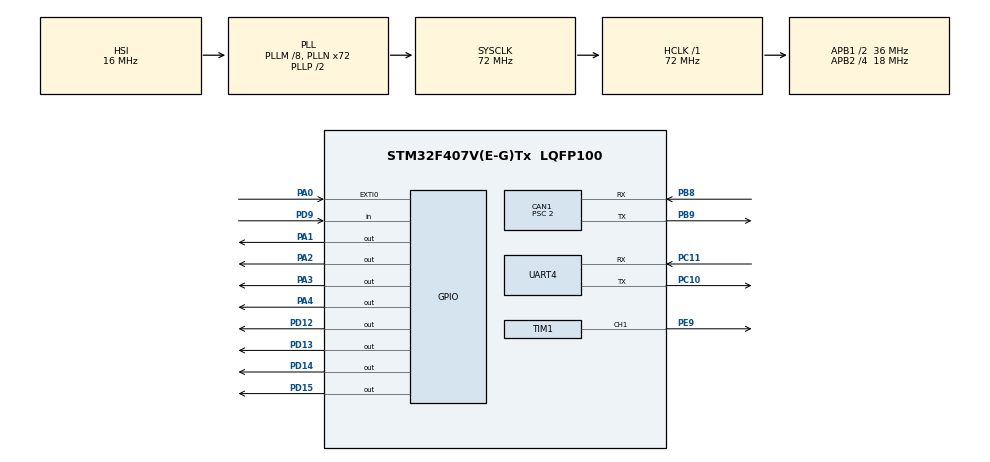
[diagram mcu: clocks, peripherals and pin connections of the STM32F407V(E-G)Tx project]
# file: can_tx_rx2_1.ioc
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CAN1.ABOM=ENABLE
CAN1.BS1=CAN_BS1_15TQ
CAN1.BS2=CAN_BS2_2TQ
CAN1.CalculateBaudRate=1000000
CAN1.CalculateTimeBit=1000
CAN1.CalculateTimeQuantum=55.55555555555556
CAN1.NART=ENABLE
CAN1.Prescaler=2
Mcu.Family=STM32F4
Mcu.Name=STM32F407V(E-G)Tx
Mcu.Package=LQFP100
NVIC.CAN1_RX0_IRQn=true\:0\:0\:false\:false\:true\:true\:true\:true
NVIC.CAN1_RX1_IRQn=true\:0\:0\:false\:false\:true\:true\:true\:true
NVIC.CAN1_SCE_IRQn=true\:0\:0\:false\:false\:true\:true\:true\:true
NVIC.CAN1_TX_IRQn=true\:0\:0\:false\:false\:true\:true\:true\:true
NVIC.PriorityGroup=NVIC_PRIORITYGROUP_4
NVIC.TIM6_DAC_IRQn=true\:0\:0\:false\:false\:true\:true\:true\:true
PA0-WKUP.Signal=GPXTI0
PA1.Signal=GPIO_Output
PA2.Signal=GPIO_Output
PA3.Signal=GPIO_Output
PA4.Signal=GPIO_Output
PB8.Mode=CAN_Activate
PB8.Signal=CAN1_RX
PB9.Mode=CAN_Activate
PB9.Signal=CAN1_TX
PC10.Mode=Asynchronous
PC10.Signal=UART4_TX
PC11.Mode=Asynchronous
PC11.Signal=UART4_RX
PD12.Signal=GPIO_Output
PD13.Signal=GPIO_Output
PD14.Signal=GPIO_Output
PD15.Signal=GPIO_Output
PD9.Signal=GPIO_Input
PE9.Signal=S_TIM1_CH1
PH0-OSC_IN.Mode=HSE-External-Oscillator
PH0-OSC_IN.Signal=RCC_OSC_IN
PH1-OSC_OUT.Mode=HSE-External-Oscillator
PH1-OSC_OUT.Signal=RCC_OSC_OUT
ProjectManager.HeapSize=0x200
ProjectManager.StackSize=0x400
ProjectManager.TargetToolchain=STM32CubeIDE
RCC.48MHZClocksFreq_Value=36000000
RCC.AHBFreq_Value=72000000
RCC.APB1CLKDivider=RCC_HCLK_DIV2
RCC.APB1Freq_Value=36000000
RCC.APB1TimFreq_Value=72000000
RCC.APB2CLKDivider=RCC_HCLK_DIV4
RCC.APB2Freq_Value=18000000
RCC.APB2TimFreq_Value=36000000
RCC.CortexFreq_Value=72000000
RCC.HCLKFreq_Value=72000000
RCC.HSE_VALUE=25000000
RCC.HSI_VALUE=16000000
RCC.LSE_VALUE=32768
RCC.PLLM=8
RCC.PLLN=72
RCC.SYSCLKFreq_VALUE=72000000
RCC.SYSCLKSource=RCC_SYSCLKSOURCE_PLLCLK
RCC.VCOOutputFreq_Value=144000000
SH.S_TIM1_CH1.0=TIM1_CH1,PWM Generation1 CH1
TIM1.Channel-PWM\ Generation1\ CH1=TIM_CHANNEL_1
TIM1.Period=99
TIM1.Prescaler=24
TIM6.Prescaler=7199
UART4.VirtualMode=Asynchronous
VP_TIM1_VS_ClockSourceINT.Mode=Internal
VP_TIM6_VS_ClockSourceINT.Mode=Enable_Timer
board=custom

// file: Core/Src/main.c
/* USER CODE BEGIN Header */
/**
  ******************************************************************************
  * @file           : main.c
  * @brief          : Main program body
  ******************************************************************************
  * @attention
  *
  * Copyright (c) 2024 STMicroelectronics.
  * All rights reserved.
  *
  * This software is licensed under terms that can be found in the LICENSE file
  * in the root directory of this software component.
  * If no LICENSE file comes with this software, it is provided AS-IS.
  *
  ******************************************************************************
  */
/* USER CODE END Header */
#include "main.h"

/* USER CODE BEGIN Includes */
#include <string.h>
#include <stdio.h>
#include "stdlib.h"
/* USER CODE END Includes */

/* USER CODE BEGIN PD */
#define MAX_TEMP 60
#define STEP_PIN GPIO_PIN_12  // Step pin (e.g., PA0)
#define DIR_PIN  GPIO_PIN_13  // Direction pin (e.g., PA1)
#define STEP_PORT GPIOD       // GPIO Port for Step pin
#define DIR_PORT  GPIOD       // GPIO Port for Direction pin
#define MOTOR_PIN_1 GPIO_PIN_1
#define MOTOR_PIN_2 GPIO_PIN_2
#define MOTOR_PIN_3 GPIO_PIN_3
#define MOTOR_PIN_4 GPIO_PIN_4
#define MOTOR_GPIO_PORT GPIOA
/* USER CODE END PD */

CAN_HandleTypeDef hcan1;
TIM_HandleTypeDef htim1;
TIM_HandleTypeDef htim6;
UART_HandleTypeDef huart4;

/* USER CODE BEGIN PV */
CAN_TxHeaderTypeDef TxHeader;
CAN_RxHeaderTypeDef RxHeader;
uint8_t RxData[8];// Actual Payload
uint8_t TxData[8];
uint8_t Temperature;
uint8_t Humidity;
uint16_t Rain_water;
uint8_t temp=0;
uint8_t adcValue;
uint8_t iot_Send_Flag = 0;
uint32_t PWMdutycycle;
char ch[50];
char uartSend[9]={'F','A','B','C','D','L','\r','\n'};
// Define the step sequence for the 28BYJ-48 stepper motor
const uint8_t step_sequence[4] = {0x01, 0x02, 0x04, 0x08};
/* USER CODE END PV */

void SystemClock_Config(void);
static void MX_GPIO_Init(void);
static void MX_CAN1_Init(void);
static void MX_TIM1_Init(void);
static void MX_UART4_Init(void);
static void MX_TIM6_Init(void);
/* USER CODE BEGIN PFP */
void Error_Handler(void);
void CAN1_Tx();
void CAN_filterConfig(void);
void Adjust_Fan_Speed(uint8_t temp);
void Stepper_Move(uint16_t steps, uint8_t direction);
void iot_Send_Data(void);
/* USER CODE END PFP */

int main(void)
{

  /* MCU Configuration--------------------------------------------------------*/

  /* Reset of all peripherals, Initializes the Flash interface and the Systick. */
  HAL_Init();

  /* Configure the system clock */
  SystemClock_Config();

  /* Initialize all configured peripherals */
  MX_GPIO_Init();
  MX_CAN1_Init();
  MX_TIM1_Init();
  MX_UART4_Init();
  MX_TIM6_Init();
  /* USER CODE BEGIN 2 */
  if(HAL_CAN_ActivateNotification(&hcan1,CAN_IT_TX_MAILBOX_EMPTY|CAN_IT_RX_FIFO0_MSG_PENDING|CAN_IT_BUSOFF)!= HAL_OK)
  {
	  Error_Handler();
  }
  CAN_filterConfig();

 if (HAL_CAN_Start(&hcan1) != HAL_OK)
   	  {
    	Error_Handler();
   	  }
  if (HAL_CAN_ActivateNotification(&hcan1, CAN_IT_RX_FIFO0_MSG_PENDING) != HAL_OK)
  	{
  	  // Notification Error
  	  Error_Handler();
  	}
  if(HAL_TIM_PWM_Start(&htim1, TIM_CHANNEL_1)!=HAL_OK)
  {
  	Error_Handler();
  }
  Adjust_Fan_Speed(Temperature);
  //temp=0;
  HAL_TIM_Base_Start_IT(&htim6);
  /* USER CODE END 2 */

  /* Infinite loop */
  /* USER CODE BEGIN WHILE */
  while (1)
  {

	  				if(temp==1)
	  				{
	  			  	  	  // Rotate motor forward 180 degrees
	  			          Stepper_Move(70, 1); // 32 steps forward
	  			          //HAL_Delay(1000); // Wait 1 second

	  			          // Rotate motor backward 180 degrees
	  			          Stepper_Move(70, 0); // 32 steps backward
	  			          //HAL_Delay(1000); // Wait 1 second
	  				}

	  				if(iot_Send_Flag == 1)
	  				{
	  					iot_Send_Flag=0;
	  					iot_Send_Data();
	  				}
    /* USER CODE END WHILE */

  }
}

void SystemClock_Config(void)
{
  RCC_OscInitTypeDef RCC_OscInitStruct = {0};
  RCC_ClkInitTypeDef RCC_ClkInitStruct = {0};

  /** Configure the main internal regulator output voltage
  */
  __HAL_RCC_PWR_CLK_ENABLE();
  __HAL_PWR_VOLTAGESCALING_CONFIG(PWR_REGULATOR_VOLTAGE_SCALE1);

  /** Initializes the RCC Oscillators according to the specified parameters
  * in the RCC_OscInitTypeDef structure.
  */
  RCC_OscInitStruct.OscillatorType = RCC_OSCILLATORTYPE_HSI;
  RCC_OscInitStruct.HSIState = RCC_HSI_ON;
  RCC_OscInitStruct.HSICalibrationValue = RCC_HSICALIBRATION_DEFAULT;
  RCC_OscInitStruct.PLL.PLLState = RCC_PLL_ON;
  RCC_OscInitStruct.PLL.PLLSource = RCC_PLLSOURCE_HSI;
  RCC_OscInitStruct.PLL.PLLM = 8;
  RCC_OscInitStruct.PLL.PLLN = 72;
  RCC_OscInitStruct.PLL.PLLP = RCC_PLLP_DIV2;
  RCC_OscInitStruct.PLL.PLLQ = 4;
  if (HAL_RCC_OscConfig(&RCC_OscInitStruct) != HAL_OK)
  {
    Error_Handler();
  }

  /** Initializes the CPU, AHB and APB buses clocks
  */
  RCC_ClkInitStruct.ClockType = RCC_CLOCKTYPE_HCLK|RCC_CLOCKTYPE_SYSCLK
                              |RCC_CLOCKTYPE_PCLK1|RCC_CLOCKTYPE_PCLK2;
  RCC_ClkInitStruct.SYSCLKSource = RCC_SYSCLKSOURCE_PLLCLK;
  RCC_ClkInitStruct.AHBCLKDivider = RCC_SYSCLK_DIV1;
  RCC_ClkInitStruct.APB1CLKDivider = RCC_HCLK_DIV2;
  RCC_ClkInitStruct.APB2CLKDivider = RCC_HCLK_DIV4;

  if (HAL_RCC_ClockConfig(&RCC_ClkInitStruct, FLASH_LATENCY_2) != HAL_OK)
  {
    Error_Handler();
  }
}

static void MX_CAN1_Init(void)
{

  hcan1.Instance = CAN1;
  hcan1.Init.Prescaler = 2;
  hcan1.Init.Mode = CAN_MODE_NORMAL;
  hcan1.Init.SyncJumpWidth = CAN_SJW_1TQ;
  hcan1.Init.TimeSeg1 = CAN_BS1_15TQ;
  hcan1.Init.TimeSeg2 = CAN_BS2_2TQ;
  hcan1.Init.TimeTriggeredMode = DISABLE;
  hcan1.Init.AutoBusOff = ENABLE;
  hcan1.Init.AutoWakeUp = DISABLE;
  hcan1.Init.AutoRetransmission = ENABLE;
  hcan1.Init.ReceiveFifoLocked = DISABLE;
  hcan1.Init.TransmitFifoPriority = DISABLE;
  if (HAL_CAN_Init(&hcan1) != HAL_OK)
  {
    Error_Handler();
  }

}

static void MX_TIM1_Init(void)
{

  TIM_ClockConfigTypeDef sClockSourceConfig = {0};
  TIM_MasterConfigTypeDef sMasterConfig = {0};
  TIM_OC_InitTypeDef sConfigOC = {0};
  TIM_BreakDeadTimeConfigTypeDef sBreakDeadTimeConfig = {0};

  htim1.Instance = TIM1;
  htim1.Init.Prescaler = 24;
  htim1.Init.CounterMode = TIM_COUNTERMODE_UP;
  htim1.Init.Period = 99;
  htim1.Init.ClockDivision = TIM_CLOCKDIVISION_DIV1;
  htim1.Init.RepetitionCounter = 0;
  htim1.Init.AutoReloadPreload = TIM_AUTORELOAD_PRELOAD_DISABLE;
  if (HAL_TIM_Base_Init(&htim1) != HAL_OK)
  {
    Error_Handler();
  }
  sClockSourceConfig.ClockSource = TIM_CLOCKSOURCE_INTERNAL;
  if (HAL_TIM_ConfigClockSource(&htim1, &sClockSourceConfig) != HAL_OK)
  {
    Error_Handler();
  }
  if (HAL_TIM_PWM_Init(&htim1) != HAL_OK)
  {
    Error_Handler();
  }
  sMasterConfig.MasterOutputTrigger = TIM_TRGO_RESET;
  sMasterConfig.MasterSlaveMode = TIM_MASTERSLAVEMODE_DISABLE;
  if (HAL_TIMEx_MasterConfigSynchronization(&htim1, &sMasterConfig) != HAL_OK)
  {
    Error_Handler();
  }
  sConfigOC.OCMode = TIM_OCMODE_PWM1;
  sConfigOC.Pulse = 0;
  sConfigOC.OCPolarity = TIM_OCPOLARITY_HIGH;
  sConfigOC.OCNPolarity = TIM_OCNPOLARITY_HIGH;
  sConfigOC.OCFastMode = TIM_OCFAST_DISABLE;
  sConfigOC.OCIdleState = TIM_OCIDLESTATE_RESET;
  sConfigOC.OCNIdleState = TIM_OCNIDLESTATE_RESET;
  if (HAL_TIM_PWM_ConfigChannel(&htim1, &sConfigOC, TIM_CHANNEL_1) != HAL_OK)
  {
    Error_Handler();
  }
  sBreakDeadTimeConfig.OffStateRunMode = TIM_OSSR_DISABLE;
  sBreakDeadTimeConfig.OffStateIDLEMode = TIM_OSSI_DISABLE;
  sBreakDeadTimeConfig.LockLevel = TIM_LOCKLEVEL_OFF;
  sBreakDeadTimeConfig.DeadTime = 0;
  sBreakDeadTimeConfig.BreakState = TIM_BREAK_DISABLE;
  sBreakDeadTimeConfig.BreakPolarity = TIM_BREAKPOLARITY_HIGH;
  sBreakDeadTimeConfig.AutomaticOutput = TIM_AUTOMATICOUTPUT_DISABLE;
  if (HAL_TIMEx_ConfigBreakDeadTime(&htim1, &sBreakDeadTimeConfig) != HAL_OK)
  {
    Error_Handler();
  }
  HAL_TIM_MspPostInit(&htim1);

}

static void MX_TIM6_Init(void)
{

  TIM_MasterConfigTypeDef sMasterConfig = {0};

  htim6.Instance = TIM6;
  htim6.Init.Prescaler = 7199;
  htim6.Init.CounterMode = TIM_COUNTERMODE_UP;
  htim6.Init.Period = 65535;
  htim6.Init.AutoReloadPreload = TIM_AUTORELOAD_PRELOAD_DISABLE;
  if (HAL_TIM_Base_Init(&htim6) != HAL_OK)
  {
    Error_Handler();
  }
  sMasterConfig.MasterOutputTrigger = TIM_TRGO_RESET;
  sMasterConfig.MasterSlaveMode = TIM_MASTERSLAVEMODE_DISABLE;
  if (HAL_TIMEx_MasterConfigSynchronization(&htim6, &sMasterConfig) != HAL_OK)
  {
    Error_Handler();
  }

}

static void MX_UART4_Init(void)
{

  huart4.Instance = UART4;
  huart4.Init.BaudRate = 115200;
  huart4.Init.WordLength = UART_WORDLENGTH_8B;
  huart4.Init.StopBits = UART_STOPBITS_1;
  huart4.Init.Parity = UART_PARITY_NONE;
  huart4.Init.Mode = UART_MODE_TX_RX;
  huart4.Init.HwFlowCtl = UART_HWCONTROL_NONE;
  huart4.Init.OverSampling = UART_OVERSAMPLING_16;
  if (HAL_UART_Init(&huart4) != HAL_OK)
  {
    Error_Handler();
  }

}

static void MX_GPIO_Init(void)
{
  GPIO_InitTypeDef GPIO_InitStruct = {0};

  /* GPIO Ports Clock Enable */
  __HAL_RCC_GPIOH_CLK_ENABLE();
  __HAL_RCC_GPIOA_CLK_ENABLE();
  __HAL_RCC_GPIOE_CLK_ENABLE();
  __HAL_RCC_GPIOD_CLK_ENABLE();
  __HAL_RCC_GPIOC_CLK_ENABLE();
  __HAL_RCC_GPIOB_CLK_ENABLE();

  /*Configure GPIO pin Output Level */
  HAL_GPIO_WritePin(GPIOA, GPIO_PIN_1|GPIO_PIN_2|GPIO_PIN_3|GPIO_PIN_4, GPIO_PIN_RESET);

  /*Configure GPIO pin Output Level */
  HAL_GPIO_WritePin(GPIOD, GPIO_PIN_12|GPIO_PIN_13|GPIO_PIN_14|GPIO_PIN_15, GPIO_PIN_RESET);

  /*Configure GPIO pin : PA0 */
  GPIO_InitStruct.Pin = GPIO_PIN_0;
  GPIO_InitStruct.Mode = GPIO_MODE_IT_RISING;
  GPIO_InitStruct.Pull = GPIO_NOPULL;
  HAL_GPIO_Init(GPIOA, &GPIO_InitStruct);

  /*Configure GPIO pins : PA1 PA2 PA3 PA4 */
  GPIO_InitStruct.Pin = GPIO_PIN_1|GPIO_PIN_2|GPIO_PIN_3|GPIO_PIN_4;
  GPIO_InitStruct.Mode = GPIO_MODE_OUTPUT_PP;
  GPIO_InitStruct.Pull = GPIO_NOPULL;
  GPIO_InitStruct.Speed = GPIO_SPEED_FREQ_LOW;
  HAL_GPIO_Init(GPIOA, &GPIO_InitStruct);

  /*Configure GPIO pin : PD9 */
  GPIO_InitStruct.Pin = GPIO_PIN_9;
  GPIO_InitStruct.Mode = GPIO_MODE_INPUT;
  GPIO_InitStruct.Pull = GPIO_NOPULL;
  HAL_GPIO_Init(GPIOD, &GPIO_InitStruct);

  /*Configure GPIO pins : PD12 PD13 PD14 PD15 */
  GPIO_InitStruct.Pin = GPIO_PIN_12|GPIO_PIN_13|GPIO_PIN_14|GPIO_PIN_15;
  GPIO_InitStruct.Mode = GPIO_MODE_OUTPUT_PP;
  GPIO_InitStruct.Pull = GPIO_NOPULL;
  GPIO_InitStruct.Speed = GPIO_SPEED_FREQ_LOW;
  HAL_GPIO_Init(GPIOD, &GPIO_InitStruct);

}

/* USER CODE BEGIN 4 */

  	void CAN_filterConfig (void)
  	{
  		CAN_FilterTypeDef sFilterConfig;
  		  sFilterConfig.FilterBank = 0;
  		  sFilterConfig.FilterMode = CAN_FILTERMODE_IDMASK;
  		  sFilterConfig.FilterScale = CAN_FILTERSCALE_32BIT;
  		  sFilterConfig.FilterIdHigh = 0x0000;
  		  sFilterConfig.FilterIdLow = 0x0000;
  		  sFilterConfig.FilterMaskIdHigh = 0x0000;
  		  sFilterConfig.FilterMaskIdLow = 0x0000;
  		  sFilterConfig.FilterFIFOAssignment = CAN_FILTER_FIFO0;
  		  sFilterConfig.FilterActivation = ENABLE;
  		  sFilterConfig.SlaveStartFilterBank = 14;
  		  if (HAL_CAN_ConfigFilter(&hcan1, &sFilterConfig) != HAL_OK)
  		  {
  		    Error_Handler();
  		  }
  	}

  	void HAL_CAN_RxFifo0MsgPendingCallback(CAN_HandleTypeDef *hcan)
  	{
  	 /* Get RX message from Fifo0 as message is Pending in Fifo to be Read*/
  	 if (HAL_CAN_GetRxMessage(hcan, CAN_RX_FIFO0, &RxHeader, RxData) != HAL_OK)
  	   Error_Handler();
  	 if ((RxHeader.StdId == 0x65D) && (RxHeader.IDE == CAN_ID_STD) && (RxHeader.DLC == 6))
  	 {
  		 Temperature=RxData[0];
  		 Humidity = RxData[1];
  		 Rain_water=RxData[2]<<8 ;
  		Rain_water=RxData[3]+Rain_water;

  	 }
  	 Adjust_Fan_Speed(Temperature);
  	 if(Rain_water<2000)
  		 temp=1;
  	 else
  		 temp=0;
  	}

  	void Stepper_Move(uint16_t steps, uint8_t direction)
  	   {
  	       for (uint16_t i = 0; ((i < steps)&&(temp==1)); i++)
  	       {
  	           // Set the GPIO pins based on the step sequence
  	           for (uint8_t j = 0; ((j < 4)&&(temp==1)); j++)
  	           {
  	               if (direction) // Forward
  	               {
  	                   HAL_GPIO_WritePin(MOTOR_GPIO_PORT, MOTOR_PIN_1, (step_sequence[j] & 0x01) ? GPIO_PIN_SET : GPIO_PIN_RESET);
  	                   HAL_GPIO_WritePin(MOTOR_GPIO_PORT, MOTOR_PIN_2, (step_sequence[j] & 0x02) ? GPIO_PIN_SET : GPIO_PIN_RESET);
  	                   HAL_GPIO_WritePin(MOTOR_GPIO_PORT, MOTOR_PIN_3, (step_sequence[j] & 0x04) ? GPIO_PIN_SET : GPIO_PIN_RESET);
  	                   HAL_GPIO_WritePin(MOTOR_GPIO_PORT, MOTOR_PIN_4, (step_sequence[j] & 0x08) ? GPIO_PIN_SET : GPIO_PIN_RESET);
  	               }
  	               else // Backward
  	               {
  	                   uint8_t k = 3 - j; // Reverse the sequence for backward movement
  	                   HAL_GPIO_WritePin(MOTOR_GPIO_PORT, MOTOR_PIN_1, (step_sequence[k] & 0x01) ? GPIO_PIN_SET : GPIO_PIN_RESET);
  	                   HAL_GPIO_WritePin(MOTOR_GPIO_PORT, MOTOR_PIN_2, (step_sequence[k] & 0x02) ? GPIO_PIN_SET : GPIO_PIN_RESET);
  	                   HAL_GPIO_WritePin(MOTOR_GPIO_PORT, MOTOR_PIN_3, (step_sequence[k] & 0x04) ? GPIO_PIN_SET : GPIO_PIN_RESET);
  	                   HAL_GPIO_WritePin(MOTOR_GPIO_PORT, MOTOR_PIN_4, (step_sequence[k] & 0x08) ? GPIO_PIN_SET : GPIO_PIN_RESET);
  	               }

  	               HAL_Delay(5); // Delay for step pulse width
  	           }
  	       }
  	   }

  	void Adjust_Fan_Speed(uint8_t temp)
  	{
  		PWMdutycycle=99;//(uint32_t)(((Temperature)/MAX_TEMP)*100);
  		__HAL_TIM_SET_COMPARE(&htim1,TIM_CHANNEL_1,PWMdutycycle);
  	}

  	void HAL_TIM_PeriodElapsedCallback(TIM_HandleTypeDef *htim)
  	{
  		iot_Send_Flag = 1;
  	 HAL_GPIO_TogglePin(GPIOD, GPIO_PIN_12);
  	}

  	void iot_Send_Data(void){
  		uartSend[1]= (char)(Temperature);
  		uartSend[2]= (char)(Humidity);
  		uartSend[3]= (char)((Rain_water));
  		sprintf(uartSend,"%d %d %d \r\n",Temperature,Humidity,Rain_water);
  		 if(HAL_UART_Transmit(&huart4, (uint8_t *)uartSend, strlen(uartSend), 50)!= HAL_OK)
  		 {
  			 Error_Handler();
  		 }
  	}

/* USER CODE END 4 */

void Error_Handler(void)
{
  __disable_irq();
  while (1)
  {
  }
}
